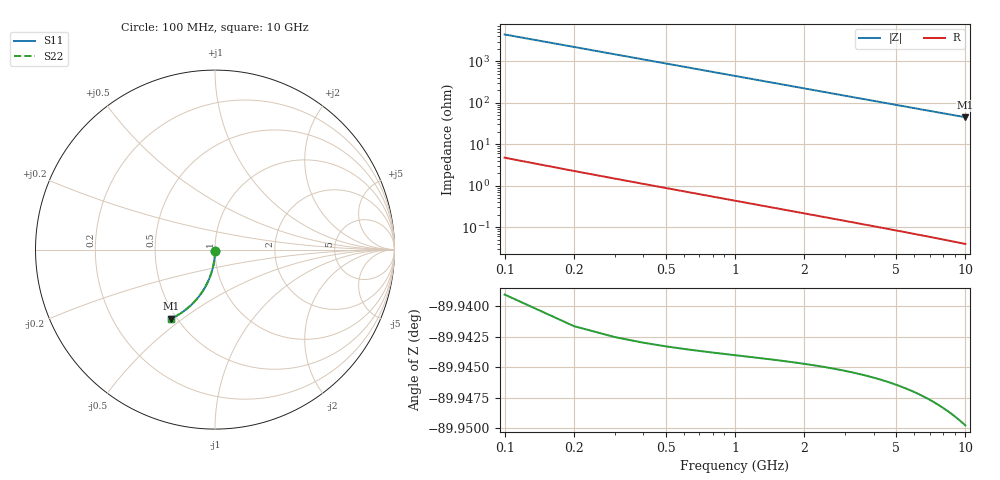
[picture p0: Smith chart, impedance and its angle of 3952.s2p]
# Hz S RI R 50.00
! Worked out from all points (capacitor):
!   100 points, 100 MHz to 10 GHz, reference 50 ohm
!   read as one part in shunt: C = 358 fF near 100 MHz
!   lowest |Z| = 44.9 ohm at 10 GHz (marker M1)
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1e8  0.000151 -0.00517  0.9998 -0.00608  0.9998 -0.00608  0.000151 -0.00517
2e8  5.26e-05 -0.0103  0.9997 -0.0122  0.9997 -0.0122  5.26e-05 -0.0103
3e8  -0.000109 -0.0155  0.9995 -0.0182  0.9995 -0.0182  -0.000109 -0.0155
4e8  -0.000333 -0.0207  0.9993 -0.0243  0.9993 -0.0243  -0.000333 -0.0207
5e8  -0.000621 -0.0258  0.999 -0.0304  0.999 -0.0304  -0.000621 -0.0258
6e8  -0.000971 -0.031  0.9986 -0.0364  0.9986 -0.0364  -0.000971 -0.031
7e8  -0.00138 -0.0361  0.9982 -0.0425  0.9982 -0.0425  -0.00138 -0.0361
8e8  -0.00186 -0.0413  0.9977 -0.0485  0.9977 -0.0485  -0.00186 -0.0413
9e8  -0.00239 -0.0464  0.9972 -0.0546  0.9972 -0.0546  -0.00239 -0.0464
1.1e9  -0.00365 -0.0566  0.9959 -0.0666  0.9959 -0.0666  -0.00365 -0.0566
1.4e9  -0.00601 -0.0719  0.9935 -0.0846  0.9935 -0.0846  -0.00601 -0.0719
1.8e9  -0.00999 -0.0921  0.9895 -0.1085  0.9895 -0.1085  -0.00999 -0.0921
2.1e9  -0.0136 -0.107  0.9858 -0.1261  0.9858 -0.1261  -0.0136 -0.107
2.5e9  -0.0192 -0.1267  0.9801 -0.1494  0.9801 -0.1494  -0.0192 -0.1267
2.9e9  -0.0258 -0.1459  0.9735 -0.1723  0.9735 -0.1723  -0.0258 -0.1459
3.4e9  -0.0352 -0.1694  0.9639 -0.2004  0.9639 -0.2004  -0.0352 -0.1694
4.2e9  -0.0529 -0.2053  0.946 -0.2436  0.946 -0.2436  -0.0529 -0.2053
5.1e9  -0.0763 -0.2428  0.9222 -0.2894  0.9222 -0.2894  -0.0763 -0.2428
5.9e9  -0.0998 -0.2734  0.8984 -0.3274  0.8984 -0.3274  -0.0998 -0.2734
6.7e9  -0.1253 -0.3012  0.8723 -0.3626  0.8723 -0.3626  -0.1253 -0.3012
8.4e9  -0.1848 -0.3504  0.8118 -0.4277  0.8118 -0.4277  -0.1848 -0.3504
1e10  -0.2444 -0.3844  0.7509 -0.4768  0.7509 -0.4768  -0.2444 -0.3844
